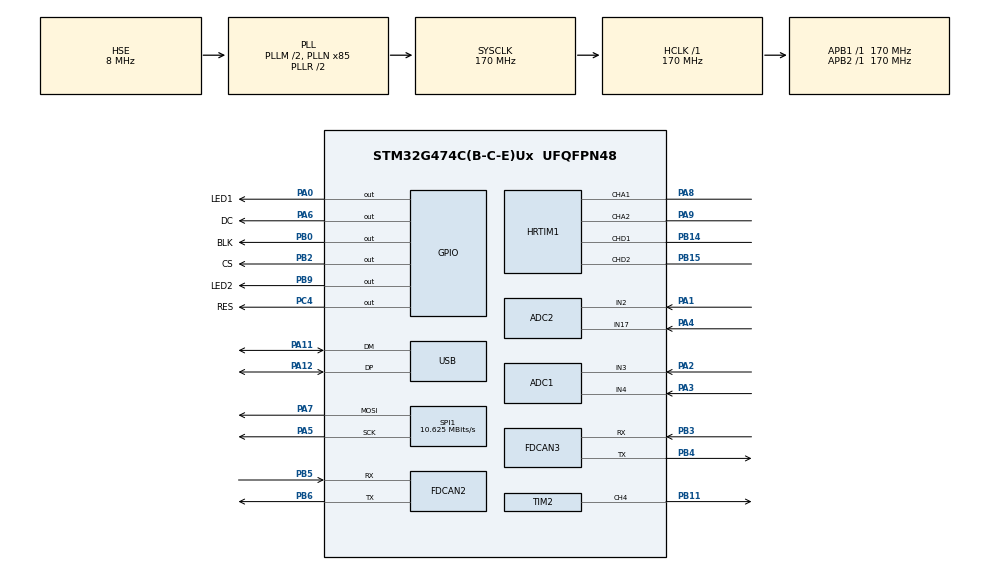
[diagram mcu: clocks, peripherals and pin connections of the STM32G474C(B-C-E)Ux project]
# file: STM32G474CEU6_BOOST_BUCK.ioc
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ADC1.Channel-0\#ChannelRegularConversion=ADC_CHANNEL_3
ADC1.Channel-1\#ChannelRegularConversion=ADC_CHANNEL_4
ADC1.ClockPrescaler=ADC_CLOCK_ASYNC_DIV4
ADC1.DMAContinuousRequests=ENABLE
ADC1.EOCSelection=ADC_EOC_SEQ_CONV
ADC1.ExternalTrigConv=ADC_EXTERNALTRIG_HRTIM_TRG1
ADC1.NbrOfConversion=2
ADC1.NbrOfConversionFlag=1
ADC1.OffsetNumber-0\#ChannelRegularConversion=ADC_OFFSET_NONE
ADC1.OffsetNumber-1\#ChannelRegularConversion=ADC_OFFSET_NONE
ADC1.Rank-0\#ChannelRegularConversion=1
ADC1.Rank-1\#ChannelRegularConversion=2
ADC1.SamplingTime-0\#ChannelRegularConversion=ADC_SAMPLETIME_2CYCLES_5
ADC1.SamplingTime-1\#ChannelRegularConversion=ADC_SAMPLETIME_2CYCLES_5
ADC1.master=1
ADC2.Channel-0\#ChannelRegularConversion=ADC_CHANNEL_2
ADC2.Channel-2\#ChannelRegularConversion=ADC_CHANNEL_17
ADC2.ClockPrescaler=ADC_CLOCK_ASYNC_DIV4
ADC2.DMAContinuousRequests=ENABLE
ADC2.DiscontinuousConvMode=DISABLE
ADC2.EOCSelection=ADC_EOC_SEQ_CONV
ADC2.ExternalTrigConv=ADC_EXTERNALTRIG_HRTIM_TRG1
ADC2.NbrOfConversion=2
ADC2.NbrOfConversionFlag=1
ADC2.OffsetNumber-0\#ChannelRegularConversion=ADC_OFFSET_NONE
ADC2.OffsetNumber-2\#ChannelRegularConversion=ADC_OFFSET_NONE
ADC2.Overrun=ADC_OVR_DATA_OVERWRITTEN
ADC2.OversamplingMode=DISABLE
ADC2.Rank-0\#ChannelRegularConversion=1
ADC2.Rank-2\#ChannelRegularConversion=2
ADC2.SamplingTime-0\#ChannelRegularConversion=ADC_SAMPLETIME_12CYCLES_5
ADC2.SamplingTime-2\#ChannelRegularConversion=ADC_SAMPLETIME_12CYCLES_5
Dma.ADC1.0.Direction=DMA_PERIPH_TO_MEMORY
Dma.ADC1.0.EventEnable=DISABLE
Dma.ADC1.0.Instance=DMA1_Channel3
Dma.ADC1.0.MemDataAlignment=DMA_MDATAALIGN_HALFWORD
Dma.ADC1.0.MemInc=DMA_MINC_ENABLE
Dma.ADC1.0.Mode=DMA_CIRCULAR
Dma.ADC1.0.PeriphDataAlignment=DMA_PDATAALIGN_HALFWORD
Dma.ADC1.0.PeriphInc=DMA_PINC_DISABLE
Dma.ADC1.0.Polarity=HAL_DMAMUX_REQ_GEN_RISING
Dma.ADC1.0.Priority=DMA_PRIORITY_HIGH
Dma.ADC1.0.RequestNumber=1
Dma.ADC1.0.SignalID=NONE
Dma.ADC1.0.SyncEnable=DISABLE
Dma.ADC1.0.SyncPolarity=HAL_DMAMUX_SYNC_NO_EVENT
Dma.ADC1.0.SyncRequestNumber=1
Dma.ADC1.0.SyncSignalID=NONE
Dma.ADC2.1.Direction=DMA_PERIPH_TO_MEMORY
Dma.ADC2.1.EventEnable=DISABLE
Dma.ADC2.1.Instance=DMA1_Channel4
Dma.ADC2.1.MemDataAlignment=DMA_MDATAALIGN_HALFWORD
Dma.ADC2.1.MemInc=DMA_MINC_ENABLE
Dma.ADC2.1.Mode=DMA_CIRCULAR
Dma.ADC2.1.PeriphDataAlignment=DMA_PDATAALIGN_HALFWORD
Dma.ADC2.1.PeriphInc=DMA_PINC_DISABLE
Dma.ADC2.1.Polarity=HAL_DMAMUX_REQ_GEN_RISING
Dma.ADC2.1.Priority=DMA_PRIORITY_VERY_HIGH
Dma.ADC2.1.RequestNumber=1
Dma.ADC2.1.SignalID=NONE
Dma.ADC2.1.SyncEnable=DISABLE
Dma.ADC2.1.SyncPolarity=HAL_DMAMUX_SYNC_NO_EVENT
Dma.ADC2.1.SyncRequestNumber=1
Dma.ADC2.1.SyncSignalID=NONE
Dma.Request0=ADC1
Dma.Request1=ADC2
FDCAN2.AutoRetransmission=ENABLE
FDCAN2.CalculateBaudRateNominal=1000000
FDCAN2.CalculateTimeBitNominal=1000
FDCAN2.CalculateTimeQuantumNominal=100.0
FDCAN2.DataPrescaler=17
FDCAN2.DataSyncJumpWidth=4
FDCAN2.DataTimeSeg1=5
FDCAN2.DataTimeSeg2=4
FDCAN2.ExtFiltersNbr=8
FDCAN2.NominalPrescaler=17
FDCAN2.NominalSyncJumpWidth=4
FDCAN2.NominalTimeSeg1=5
FDCAN2.NominalTimeSeg2=4
FDCAN2.StdFiltersNbr=28
FDCAN2.TransmitPause=ENABLE
FDCAN3.AutoRetransmission=ENABLE
FDCAN3.CalculateBaudRateNominal=1000000
FDCAN3.CalculateTimeBitNominal=1000
FDCAN3.CalculateTimeQuantumNominal=100.0
FDCAN3.DataPrescaler=17
FDCAN3.DataSyncJumpWidth=4
FDCAN3.DataTimeSeg1=5
FDCAN3.DataTimeSeg2=4
FDCAN3.ExtFiltersNbr=8
FDCAN3.NominalPrescaler=17
FDCAN3.NominalSyncJumpWidth=4
FDCAN3.NominalTimeSeg1=4
FDCAN3.NominalTimeSeg2=5
FDCAN3.ProtocolException=DISABLE
FDCAN3.StdFiltersNbr=28
FDCAN3.TransmitPause=ENABLE
HRTIM1.ADCTrigger1_Source1=HRTIM_ADCTRIGGEREVENT13_MASTER_PERIOD
HRTIM1.ADCTrigger_Id1=HRTIM_ADCTRIGGER_1
HRTIM1.CompareUnit1-MasterTimer=HRTIM_COMPAREUNIT_1
HRTIM1.CompareUnit2-MasterTimer=HRTIM_COMPAREUNIT_2
HRTIM1.CompareUnit3-MasterTimer=HRTIM_COMPAREUNIT_3
HRTIM1.CompareUnit3-Output_TA1TA2=HRTIM_COMPAREUNIT_3
HRTIM1.CompareUnit4-MasterTimer=HRTIM_COMPAREUNIT_4
HRTIM1.CompareValue1-MasterTimer=13600-1000
HRTIM1.CompareValue2-MasterTimer=13600+1000
HRTIM1.CompareValue3-MasterTimer=13600-300
HRTIM1.CompareValue3-Output_TA1TA2=13600
HRTIM1.CompareValue4-MasterTimer=13600+300
HRTIM1.DeadTimeInsertion-Output_TA1TA2=HRTIM_TIMDEADTIMEINSERTION_ENABLED
HRTIM1.DeadTimeInsertion-Output_TD1TD2=HRTIM_TIMDEADTIMEINSERTION_ENABLED
HRTIM1.FallingValue-Output_TA1TA2=2
HRTIM1.FallingValue-Output_TD1TD2=2
HRTIM1.GreaterCMP3_TA=HRTIM_TIMERGTCMP3_GREATER
HRTIM1.InterleavedMode-MasterTimer=HRTIM_INTERLEAVED_MODE_DISABLED
HRTIM1.NumberADCTriggerSource1=1
HRTIM1.NumberResetSource1-Output_TA1TA2=1
HRTIM1.NumberResetSource1-Output_TD1TD2=1
HRTIM1.NumberResetTrigger-Output_TA1TA2=1
HRTIM1.NumberResetTrigger-Output_TD1TD2=1
HRTIM1.NumberSetSource1-Output_TA1TA2=1
HRTIM1.NumberSetSource1-Output_TD1TD2=1
HRTIM1.NumberUpdateTrigger-Output_TA1TA2=0
HRTIM1.ORingUpdateSource_ADCTrigger1=HRTIM_ADCTRIGGERUPDATE_TIMER_A
HRTIM1.Periode_MASTER=27200
HRTIM1.Periode_TA=27200
HRTIM1.Periode_TD=27200
HRTIM1.PrescalerDead-Output_TA1TA2=HRTIM_TIMDEADTIME_PRESCALERRATIO_MUL8
HRTIM1.PrescalerDead-Output_TD1TD2=HRTIM_TIMDEADTIME_PRESCALERRATIO_MUL8
HRTIM1.PrescalerRatio_MASTER=HRTIM_PRESCALERRATIO_MUL32
HRTIM1.ReSyncUpdate-Output_TA1TA2=HRTIM_TIMERESYNC_UPDATE_UNCONDITIONAL
HRTIM1.ResetOutput1_Source1-Output_TA1TA2=HRTIM_OUTPUTRESET_MASTERCMP2
HRTIM1.ResetOutput1_Source1-Output_TD1TD2=HRTIM_OUTPUTRESET_MASTERCMP4
HRTIM1.ResetTrigger1-Output_TA1TA2=HRTIM_TIMRESETTRIGGER_MASTER_PER
HRTIM1.ResetTrigger1-Output_TD1TD2=HRTIM_TIMRESETTRIGGER_MASTER_PER
HRTIM1.ResetUpdate-Output_TA1TA2=HRTIM_TIMUPDATEONRESET_DISABLED
HRTIM1.RisingValue-Output_TA1TA2=2
HRTIM1.RisingValue-Output_TD1TD2=2
HRTIM1.SetOutput1_Source1-Output_TA1TA2=HRTIM_OUTPUTSET_MASTERCMP1
HRTIM1.SetOutput1_Source1-Output_TD1TD2=HRTIM_OUTPUTSET_MASTERCMP3
HRTIM1.postscaler1=0
Mcu.Family=STM32G4
Mcu.Name=STM32G474C(B-C-E)Ux
Mcu.Package=UFQFPN48
NVIC.DMA1_Channel3_IRQn=true\:0\:0\:false\:false\:true\:false\:true\:true
NVIC.DMA1_Channel4_IRQn=true\:0\:0\:false\:false\:true\:false\:true\:true
NVIC.FDCAN2_IT0_IRQn=true\:0\:0\:false\:false\:true\:true\:true\:true
NVIC.PriorityGroup=NVIC_PRIORITYGROUP_4
NVIC.TIM6_DAC_IRQn=true\:4\:0\:true\:false\:true\:true\:true\:true
NVIC.TIM7_DAC_IRQn=true\:4\:0\:true\:false\:true\:true\:true\:true
PA0.GPIO_Label=LED1
PA0.Signal=GPIO_Output
PA1.Mode=IN2-Single-Ended
PA1.Signal=ADC2_IN2
PA11.Mode=Device
PA11.Signal=USB_DM
PA12.Mode=Device
PA12.Signal=USB_DP
PA13.Mode=Serial_Wire
PA13.Signal=SYS_JTMS-SWDIO
PA14.Mode=Serial_Wire
PA14.Signal=SYS_JTCK-SWCLK
PA2.Mode=IN3-Single-Ended
PA2.Signal=ADC1_IN3
PA3.Mode=IN4-Single-Ended
PA3.Signal=ADC1_IN4
PA4.Mode=IN17-Single-Ended
PA4.Signal=ADC2_IN17
PA5.Mode=TX_Only_Simplex_Unidirect_Master
PA5.Signal=SPI1_SCK
PA6.GPIO_Label=DC
PA6.GPIO_Speed=GPIO_SPEED_FREQ_LOW
PA6.PinState=GPIO_PIN_SET
PA6.Signal=GPIO_Output
PA7.Mode=TX_Only_Simplex_Unidirect_Master
PA7.Signal=SPI1_MOSI
PA8.Mode=Output_TA1TA2
PA8.Signal=HRTIM1_CHA1
PA9.Mode=Output_TA1TA2
PA9.Signal=HRTIM1_CHA2
PB0.GPIO_Label=BLK
PB0.GPIO_PuPd=GPIO_PULLDOWN
PB0.PinState=GPIO_PIN_RESET
PB0.Signal=GPIO_Output
PB11.Signal=S_TIM2_CH4
PB14.Mode=Output_TD1TD2
PB14.Signal=HRTIM1_CHD1
PB15.Mode=Output_TD1TD2
PB15.Signal=HRTIM1_CHD2
PB2.GPIO_Label=CS
PB2.PinState=GPIO_PIN_SET
PB2.Signal=GPIO_Output
PB3.Mode=FDCAN_Activate
PB3.Signal=FDCAN3_RX
PB4.Mode=FDCAN_Activate
PB4.Signal=FDCAN3_TX
PB5.Mode=FDCAN_Activate
PB5.Signal=FDCAN2_RX
PB6.Mode=FDCAN_Activate
PB6.Signal=FDCAN2_TX
PB9.GPIO_Label=LED2
PB9.GPIO_PuPd=GPIO_PULLUP
PB9.PinState=GPIO_PIN_SET
PB9.Signal=GPIO_Output
PC4.GPIO_Label=RES
PC4.PinState=GPIO_PIN_SET
PC4.Signal=GPIO_Output
PF0-OSC_IN.Mode=HSE-External-Oscillator
PF0-OSC_IN.Signal=RCC_OSC_IN
PF1-OSC_OUT.Mode=HSE-External-Oscillator
PF1-OSC_OUT.Signal=RCC_OSC_OUT
ProjectManager.HeapSize=0x200
ProjectManager.StackSize=0x400
ProjectManager.TargetToolchain=MDK-ARM V5.32
RCC.ADC12CLockSelection=RCC_ADC12CLKSOURCE_PLL
RCC.ADC12Freq_Value=170000000
RCC.ADC345Freq_Value=170000000
RCC.AHBFreq_Value=170000000
RCC.APB1Freq_Value=170000000
RCC.APB1TimFreq_Value=170000000
RCC.APB2Freq_Value=170000000
RCC.APB2TimFreq_Value=170000000
RCC.CK48CLockSelection=RCC_USBCLKSOURCE_HSI48
RCC.CortexFreq_Value=170000000
RCC.EXTERNAL_CLOCK_VALUE=12288000
RCC.HCLKFreq_Value=170000000
RCC.HSE_VALUE=8000000
RCC.HSI48_VALUE=48000000
RCC.HSI_VALUE=16000000
RCC.LSE_VALUE=32768
RCC.PLLM=RCC_PLLM_DIV2
RCC.PLLN=85
RCC.PLLQ=RCC_PLLQ_DIV6
RCC.PLLSourceVirtual=RCC_PLLSOURCE_HSE
RCC.SYSCLKFreq_VALUE=170000000
RCC.SYSCLKSource=RCC_SYSCLKSOURCE_PLLCLK
RCC.USBFreq_Value=48000000
RCC.VCOOutputFreq_Value=340000000
SH.S_TIM2_CH4.0=TIM2_CH4,PWM Generation4 CH4
SPI1.BaudRatePrescaler=SPI_BAUDRATEPRESCALER_16
SPI1.CLKPhase=SPI_PHASE_2EDGE
SPI1.CLKPolarity=SPI_POLARITY_HIGH
SPI1.CalculateBaudRate=10.625 MBits/s
SPI1.DataSize=SPI_DATASIZE_8BIT
SPI1.Direction=SPI_DIRECTION_2LINES
SPI1.Mode=SPI_MODE_MASTER
SPI1.VirtualType=VM_MASTER
TIM2.AutoReloadPreload=TIM_AUTORELOAD_PRELOAD_ENABLE
TIM2.Channel-PWM\ Generation4\ CH4=TIM_CHANNEL_4
TIM2.PeriodNoDither=500-1
TIM2.Prescaler=170
TIM2.PulseNoDither_4=200
TIM6.AutoReloadPreload=TIM_AUTORELOAD_PRELOAD_ENABLE
TIM6.PeriodNoDither=100-1
TIM6.Prescaler=170-1
TIM7.AutoReloadPreload=TIM_AUTORELOAD_PRELOAD_ENABLE
TIM7.PeriodNoDither=1000-1
TIM7.Prescaler=170-1
TIM8.PeriodNoDither=10000-1
TIM8.Prescaler=170-1
VP_HRTIM1_VS_hrtimMasterTimerNoOutput.Mode=MasterTimer
VP_SYS_VS_DBSignals.Mode=DisableDeadBatterySignals
VP_TIM2_VS_ClockSourceINT.Mode=Internal
VP_TIM6_VS_ClockSourceINT.Mode=Enable_Timer
VP_TIM7_VS_ClockSourceINT.Mode=Enable_Timer
VP_TIM8_VS_ClockSourceINT.Mode=Internal
board=custom

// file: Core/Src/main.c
/* USER CODE BEGIN Header */
/**
  ******************************************************************************
  * @file           : main.c
  * @brief          : Main program body
  ******************************************************************************
  * @attention
  *
  * Copyright (c) 2025 STMicroelectronics.
  * All rights reserved.
  *
  * This software is licensed under terms that can be found in the LICENSE file
  * in the root directory of this software component.
  * If no LICENSE file comes with this software, it is provided AS-IS.
  *
  ******************************************************************************
  */
/* USER CODE END Header */
#include "main.h"
#include "adc.h"
#include "dma.h"
#include "fdcan.h"
#include "hrtim.h"
#include "spi.h"
#include "tim.h"
#include "usb.h"
#include "gpio.h"

/* USER CODE BEGIN Includes */
//使用KEIL V5编译  V6ccrmam编译不通过
/* USER CODE END Includes */

void SystemClock_Config(void);
/* USER CODE BEGIN PFP */
uint8_t canrx[8];

/* USER CODE END PFP */

int main(void)
{

  /* MCU Configuration--------------------------------------------------------*/

  /* Reset of all peripherals, Initializes the Flash interface and the Systick. */
  HAL_Init();

  /* Configure the system clock */
  SystemClock_Config();

  /* USER CODE BEGIN SysInit */
//总控制在u_i_pid.c
/*串极PID响应差*/
	//假设输入24v，输出30v则最大占空比1+（30-24）/30=1.2
	//最小占空比不小于mos开关死区即可
//	//void pid_init(PID *pid,    float kp,float ki,float kd, float omax,float omin, float pmax, float imax, float dmax)
//	//     电流环PID参数初始化     P          I          D       PWM调节上限  PWM调节下限
//	       pid_init(&CAP_charge_I,0.0000025,0.00    ,0.00000    ,1.20       ,0.05      , 0.01       ,0     ,0.001);
//  //     电压环PID参数初始化     P          I          D       电流调节上限 电流调节下限 ma
//	       pid_init(&CAP_charge_V,0.0005    ,0.0001    ,0.0       ,8000       ,-8000      , 80       ,80       ,80);
//  //     功率环PID参数初始化     P          I          D       电压调节上限 电压调节下限 mv
//	       pid_init(&CAP_charge_P,0.05    ,0.00     ,0.0000     ,15000      ,5000       , 150       ,0         ,50);

/*并联PID*/
	//void pid_init(PID *pid,    float kp,float ki,float kd, float omax,float omin, float pmax, float imax, float dmax)
	//     电流环PID参数初始化     P          I          D       PWM调节上限  PWM调节下限
	       pid_init(&CAP_charge_I,0.000006  ,0.00    ,0.00000    ,1.20       ,0.10f       , 0.7       ,0.1       , 0.01);
  //     电压环PID参数初始化     P          I          D       PWM调节上限 电流调节下限 ma
	       pid_init(&CAP_charge_V,0.000006  ,0.01    ,0.00000      ,1.20f       ,0.10f      , 0.005    ,0       , 0.01);
  //     功率环PID参数初始化     P          I          D       充电调节上限 放电功率上限 W
	       pid_init(&CAP_charge_P,0.9    ,0.00  ,0.0000     ,15000.0f    ,-15000.0f       , 800       ,0          ,200);

  /* USER CODE END SysInit */

  /* Initialize all configured peripherals */
  MX_GPIO_Init();
  MX_DMA_Init();
  MX_ADC1_Init();
  MX_ADC2_Init();
  MX_FDCAN2_Init();
  MX_FDCAN3_Init();
  MX_HRTIM1_Init();
  MX_SPI1_Init();
  MX_USB_PCD_Init();
  MX_TIM6_Init();
  MX_TIM7_Init();
  MX_TIM2_Init();
  MX_TIM8_Init();
  /* USER CODE BEGIN 2 */
	HAL_Delay(100);

  LCD_INIT();

	HAL_Delay(100);
	ADC_INIT();

	U_I_CTRL_INIT();

  HAL_GPIO_WritePin(LED1_GPIO_Port,LED1_Pin,GPIO_PIN_RESET);
	HAL_GPIO_WritePin(LED2_GPIO_Port,LED2_Pin,GPIO_PIN_RESET);

	//HAL_TIM_PWM_Start(&htim2, TIM_CHANNEL_4);
  /* USER CODE END 2 */

  /* Infinite loop */
  while (1)
  {

    /* USER CODE BEGIN 3 */
		HAL_Delay(1);
		LCD_ShowString(0,0,"CL_I:",LIGHTBLUE,BLACK,12,0);
		LCD_ShowString(32,0,"-",(POW_I_ADC_DATA.lowflt_out>0?BLACK:WHITE),BLACK,12,0);
		LCD_ShowIntNum(40,0,(POW_I_ADC_DATA.lowflt_out>0?POW_I_ADC_DATA.lowflt_out:-POW_I_ADC_DATA.lowflt_out),5,WHITE,BLACK,12);

		LCD_ShowString(0,20,"DC_U:",LIGHTBLUE,BLACK,12,0);
		LCD_ShowIntNum(40,20,POW_U_ADC_DATA.lowflt_out,5,WHITE,BLACK,12);

		LCD_ShowString(80,0,"CP_I:",LIGHTBLUE,BLACK,12,0);
		LCD_ShowString(80+32,0,"-",(CAP_I_ADC_DATA.lowflt_out>0?BLACK:WHITE),BLACK,12,0);
		LCD_ShowIntNum(120,0,CAP_I_ADC_DATA.lowflt_out>0?CAP_I_ADC_DATA.lowflt_out:-CAP_I_ADC_DATA.lowflt_out,5,WHITE,BLACK,12);

		LCD_ShowString(80,20,"CP_U:",LIGHTBLUE,BLACK,12,0);
		LCD_ShowIntNum(120,20,CAP_U_ADC_DATA.lowflt_out,5,WHITE,BLACK,12);

		LCD_ShowString(0,40,"CP_P:",LIGHTBLUE,BLACK,12,0);
		LCD_ShowString(0+32,40,"-",(CAP_P>0?BLACK:WHITE),BLACK,12,0);
		LCD_ShowFloatNum1(48,40,abs_user(CAP_P),5,WHITE,BLACK,12);

    LCD_ShowString(0,60,"CL_P:",LIGHTBLUE,BLACK,12,0);
		LCD_ShowString(0+32,60,"-",(POW_P>0?BLACK:WHITE),BLACK,12,0);
		LCD_ShowFloatNum1(48,60,abs_user(POW_P),5,WHITE,BLACK,12);

	  if(protection_mode)
		{
		   LCD_ShowString(0,55,"POWER_PR0TECTION",BRRED,BLACK,12,0);
			if(protection_mode==1||protection_mode==3)  //过压保护
			{
			  HAL_TIM_PWM_Start(&htim2, TIM_CHANNEL_4);
			  HAL_Delay(500);
			  HAL_TIM_PWM_Stop(&htim2, TIM_CHANNEL_4);
			  HAL_Delay(500);
			}
			if(protection_mode==5)
			{
			  HAL_TIM_PWM_Start(&htim2, TIM_CHANNEL_4);
			  HAL_Delay(1000);
			  HAL_TIM_PWM_Stop(&htim2, TIM_CHANNEL_4);
			  HAL_Delay(1000);
			}
			if(protection_mode==4||protection_mode==2) //过流保护
			{
			  HAL_TIM_PWM_Start(&htim2, TIM_CHANNEL_4);
			  HAL_Delay(200);
			  HAL_TIM_PWM_Stop(&htim2, TIM_CHANNEL_4);
			  HAL_Delay(200);
			}
		}

		//fdcan_transmit(&hfdcan2, &TxHeader2, 0x301, FDCAN_DLC_BYTES_8, canrx);
		//fdcan_transmit(&hfdcan3, &TxHeader3, 0x303, FDCAN_DLC_BYTES_8, canrx);

		//底盘输出电流为-
		//电容充电电流为+
  }
  /* USER CODE END 3 */
}

void SystemClock_Config(void)
{
  RCC_OscInitTypeDef RCC_OscInitStruct = {0};
  RCC_ClkInitTypeDef RCC_ClkInitStruct = {0};

  /** Configure the main internal regulator output voltage
  */
  HAL_PWREx_ControlVoltageScaling(PWR_REGULATOR_VOLTAGE_SCALE1_BOOST);

  /** Initializes the RCC Oscillators according to the specified parameters
  * in the RCC_OscInitTypeDef structure.
  */
  RCC_OscInitStruct.OscillatorType = RCC_OSCILLATORTYPE_HSI48|RCC_OSCILLATORTYPE_HSE;
  RCC_OscInitStruct.HSEState = RCC_HSE_ON;
  RCC_OscInitStruct.HSI48State = RCC_HSI48_ON;
  RCC_OscInitStruct.PLL.PLLState = RCC_PLL_ON;
  RCC_OscInitStruct.PLL.PLLSource = RCC_PLLSOURCE_HSE;
  RCC_OscInitStruct.PLL.PLLM = RCC_PLLM_DIV2;
  RCC_OscInitStruct.PLL.PLLN = 85;
  RCC_OscInitStruct.PLL.PLLP = RCC_PLLP_DIV2;
  RCC_OscInitStruct.PLL.PLLQ = RCC_PLLQ_DIV6;
  RCC_OscInitStruct.PLL.PLLR = RCC_PLLR_DIV2;
  if (HAL_RCC_OscConfig(&RCC_OscInitStruct) != HAL_OK)
  {
    Error_Handler();
  }

  /** Initializes the CPU, AHB and APB buses clocks
  */
  RCC_ClkInitStruct.ClockType = RCC_CLOCKTYPE_HCLK|RCC_CLOCKTYPE_SYSCLK
                              |RCC_CLOCKTYPE_PCLK1|RCC_CLOCKTYPE_PCLK2;
  RCC_ClkInitStruct.SYSCLKSource = RCC_SYSCLKSOURCE_PLLCLK;
  RCC_ClkInitStruct.AHBCLKDivider = RCC_SYSCLK_DIV1;
  RCC_ClkInitStruct.APB1CLKDivider = RCC_HCLK_DIV1;
  RCC_ClkInitStruct.APB2CLKDivider = RCC_HCLK_DIV1;

  if (HAL_RCC_ClockConfig(&RCC_ClkInitStruct, FLASH_LATENCY_4) != HAL_OK)
  {
    Error_Handler();
  }
}

void Error_Handler(void)
{
  __disable_irq();
  while (1)
  {
  }
}
